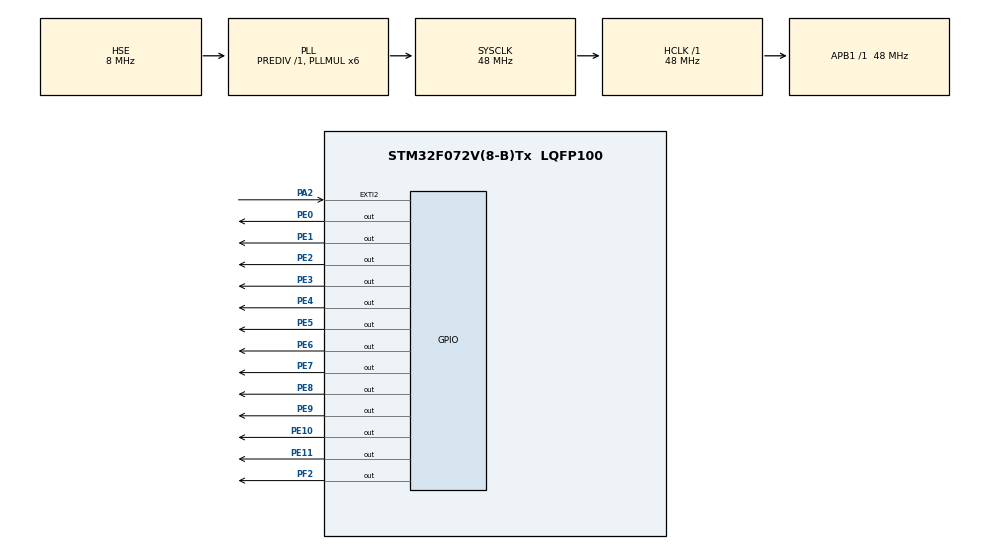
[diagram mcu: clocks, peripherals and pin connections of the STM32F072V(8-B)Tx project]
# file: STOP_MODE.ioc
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Mcu.Family=STM32F0
Mcu.Name=STM32F072V(8-B)Tx
Mcu.Package=LQFP100
PA2.GPIO_PuPd=GPIO_PULLDOWN
PA2.Signal=GPXTI2
PE0.Signal=GPIO_Output
PE1.Signal=GPIO_Output
PE10.Signal=GPIO_Output
PE11.Signal=GPIO_Output
PE2.Signal=GPIO_Output
PE3.Signal=GPIO_Output
PE4.Signal=GPIO_Output
PE5.Signal=GPIO_Output
PE6.Signal=GPIO_Output
PE7.Signal=GPIO_Output
PE8.Signal=GPIO_Output
PE9.Signal=GPIO_Output
PF0-OSC_IN.Mode=HSE-External-Oscillator
PF0-OSC_IN.Signal=RCC_OSC_IN
PF1-OSC_OUT.Mode=HSE-External-Oscillator
PF1-OSC_OUT.Signal=RCC_OSC_OUT
PF2.Signal=GPIO_Output
ProjectManager.HeapSize=0x200
ProjectManager.StackSize=0x400
ProjectManager.TargetToolchain=MDK-ARM V5
RCC.AHBFreq_Value=48000000
RCC.APB1Freq_Value=48000000
RCC.APB1TimFreq_Value=48000000
RCC.HCLKFreq_Value=48000000
RCC.HSIState=RCC_HSI_ON
RCC.PLLMUL=RCC_PLL_MUL6
RCC.PLLSourceVirtual=RCC_PLLSOURCE_HSE
RCC.SYSCLKFreq_VALUE=48000000
RCC.SYSCLKSource=RCC_SYSCLKSOURCE_PLLCLK
board=STOP_MODE

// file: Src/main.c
/**
  ******************************************************************************
  * File Name          : main.c
  * Description        : Main program body
  ******************************************************************************
  *
  * COPYRIGHT(c) 2018 STMicroelectronics
  *
  * Redistribution and use in source and binary forms, with or without modification,
  * are permitted provided that the following conditions are met:
  *   1. Redistributions of source code must retain the above copyright notice,
  *      this list of conditions and the following disclaimer.
  *   2. Redistributions in binary form must reproduce the above copyright notice,
  *      this list of conditions and the following disclaimer in the documentation
  *      and/or other materials provided with the distribution.
  *   3. Neither the name of STMicroelectronics nor the names of its contributors
  *      may be used to endorse or promote products derived from this software
  *      without specific prior written permission.
  *
  * THIS SOFTWARE IS PROVIDED BY THE COPYRIGHT HOLDERS AND CONTRIBUTORS "AS IS"
  * AND ANY EXPRESS OR IMPLIED WARRANTIES, INCLUDING, BUT NOT LIMITED TO, THE
  * IMPLIED WARRANTIES OF MERCHANTABILITY AND FITNESS FOR A PARTICULAR PURPOSE ARE
  * DISCLAIMED. IN NO EVENT SHALL THE COPYRIGHT HOLDER OR CONTRIBUTORS BE LIABLE
  * FOR ANY DIRECT, INDIRECT, INCIDENTAL, SPECIAL, EXEMPLARY, OR CONSEQUENTIAL
  * DAMAGES (INCLUDING, BUT NOT LIMITED TO, PROCUREMENT OF SUBSTITUTE GOODS OR
  * SERVICES; LOSS OF USE, DATA, OR PROFITS; OR BUSINESS INTERRUPTION) HOWEVER
  * CAUSED AND ON ANY THEORY OF LIABILITY, WHETHER IN CONTRACT, STRICT LIABILITY,
  * OR TORT (INCLUDING NEGLIGENCE OR OTHERWISE) ARISING IN ANY WAY OUT OF THE USE
  * OF THIS SOFTWARE, EVEN IF ADVISED OF THE POSSIBILITY OF SUCH DAMAGE.
  *
  ******************************************************************************
  */
#include "stm32f0xx_hal.h"

/* USER CODE BEGIN PV */
/* Private variables ---------------------------------------------------------*/

/* USER CODE END PV */

void SystemClock_Config(void);
void Error_Handler(void);
static void MX_GPIO_Init(void);

/* USER CODE BEGIN PFP */
/* Private function prototypes -----------------------------------------------*/
void SEG_Display(uint32_t num);     /*  数码管显示函数  */

/* USER CODE END PFP */

/* USER CODE BEGIN 0 */
const uint8_t table0[]= {0x3f,0x06,0x5b,0x4f,0x66,0x6d,0x7d,0x07,0x7f,0x6f};  /* 共阴（无点）*/
const uint8_t table1[]= {0xbf,0x86,0xdb,0xcf,0xe6,0xed,0xfd,0x87,0xff,0xef};  /* 共阴（有点）*/
uint32_t  timeout;          /* 定义超时变量 */

/* USER CODE END 0 */

int main(void)
{

  /* MCU Configuration----------------------------------------------------------*/

  /* Reset of all peripherals, Initializes the Flash interface and the Systick. */
  HAL_Init();

  /* Configure the system clock */
  SystemClock_Config();

  /* Initialize all configured peripherals */
  MX_GPIO_Init();

  /* USER CODE BEGIN 2 */

	/* 超时变量赋初值  */
	timeout=200;

  /* USER CODE END 2 */

  /* Infinite loop */
  /* USER CODE BEGIN WHILE */
  while (1)
  {
		/* 数码管显示超时值  */
		SEG_Display(timeout);
		/* 超时变量自减 */
		timeout--;
		if(timeout==0)
		{
			/* 清除EXTI线2的中断标志位 */
			HAL_GPIO_EXTI_IRQHandler ( GPIO_PIN_2 );
			/* 超时变量赋初值  */
			timeout=200;
			/* 使用WFI指令进入停机模式  */
			HAL_PWR_EnterSTOPMode(PWR_LOWPOWERREGULATOR_ON,PWR_STOPENTRY_WFI);
			/* 重新配置系统时钟 */
			SystemClock_Config();
		}
  /* USER CODE END WHILE */

  }

}

/** System Clock Configuration
*/
void SystemClock_Config(void)
{

  RCC_OscInitTypeDef RCC_OscInitStruct;
  RCC_ClkInitTypeDef RCC_ClkInitStruct;

  RCC_OscInitStruct.OscillatorType = RCC_OSCILLATORTYPE_HSE;
  RCC_OscInitStruct.HSEState = RCC_HSE_ON;
  RCC_OscInitStruct.PLL.PLLState = RCC_PLL_ON;
  RCC_OscInitStruct.PLL.PLLSource = RCC_PLLSOURCE_HSE;
  RCC_OscInitStruct.PLL.PLLMUL = RCC_PLL_MUL6;
  RCC_OscInitStruct.PLL.PREDIV = RCC_PREDIV_DIV1;
  if (HAL_RCC_OscConfig(&RCC_OscInitStruct) != HAL_OK)
  {
    Error_Handler();
  }

  RCC_ClkInitStruct.ClockType = RCC_CLOCKTYPE_HCLK|RCC_CLOCKTYPE_SYSCLK
                              |RCC_CLOCKTYPE_PCLK1;
  RCC_ClkInitStruct.SYSCLKSource = RCC_SYSCLKSOURCE_PLLCLK;
  RCC_ClkInitStruct.AHBCLKDivider = RCC_SYSCLK_DIV1;
  RCC_ClkInitStruct.APB1CLKDivider = RCC_HCLK_DIV1;
  if (HAL_RCC_ClockConfig(&RCC_ClkInitStruct, FLASH_LATENCY_1) != HAL_OK)
  {
    Error_Handler();
  }

  HAL_SYSTICK_Config(HAL_RCC_GetHCLKFreq()/1000);

  HAL_SYSTICK_CLKSourceConfig(SYSTICK_CLKSOURCE_HCLK);

  /* SysTick_IRQn interrupt configuration */
  HAL_NVIC_SetPriority(SysTick_IRQn, 0, 0);
}

/** Configure pins as
        * Analog
        * Input
        * Output
        * EVENT_OUT
        * EXTI
*/
static void MX_GPIO_Init(void)
{

  GPIO_InitTypeDef GPIO_InitStruct;

  /* GPIO Ports Clock Enable */
  __HAL_RCC_GPIOE_CLK_ENABLE();
  __HAL_RCC_GPIOF_CLK_ENABLE();
  __HAL_RCC_GPIOA_CLK_ENABLE();

  /*Configure GPIO pin Output Level */
  HAL_GPIO_WritePin(GPIOE, GPIO_PIN_2|GPIO_PIN_3|GPIO_PIN_4|GPIO_PIN_5
                          |GPIO_PIN_6|GPIO_PIN_7|GPIO_PIN_8|GPIO_PIN_9
                          |GPIO_PIN_10|GPIO_PIN_11|GPIO_PIN_0|GPIO_PIN_1, GPIO_PIN_RESET);

  /*Configure GPIO pin Output Level */
  HAL_GPIO_WritePin(GPIOF, GPIO_PIN_2, GPIO_PIN_RESET);

  /*Configure GPIO pins : PE2 PE3 PE4 PE5
                           PE6 PE7 PE8 PE9
                           PE10 PE11 PE0 PE1 */
  GPIO_InitStruct.Pin = GPIO_PIN_2|GPIO_PIN_3|GPIO_PIN_4|GPIO_PIN_5
                          |GPIO_PIN_6|GPIO_PIN_7|GPIO_PIN_8|GPIO_PIN_9
                          |GPIO_PIN_10|GPIO_PIN_11|GPIO_PIN_0|GPIO_PIN_1;
  GPIO_InitStruct.Mode = GPIO_MODE_OUTPUT_PP;
  GPIO_InitStruct.Pull = GPIO_NOPULL;
  GPIO_InitStruct.Speed = GPIO_SPEED_FREQ_LOW;
  HAL_GPIO_Init(GPIOE, &GPIO_InitStruct);

  /*Configure GPIO pin : PF2 */
  GPIO_InitStruct.Pin = GPIO_PIN_2;
  GPIO_InitStruct.Mode = GPIO_MODE_OUTPUT_PP;
  GPIO_InitStruct.Pull = GPIO_NOPULL;
  GPIO_InitStruct.Speed = GPIO_SPEED_FREQ_LOW;
  HAL_GPIO_Init(GPIOF, &GPIO_InitStruct);

  /*Configure GPIO pin : PA2 */
  GPIO_InitStruct.Pin = GPIO_PIN_2;
  GPIO_InitStruct.Mode = GPIO_MODE_IT_RISING;
  GPIO_InitStruct.Pull = GPIO_PULLDOWN;
  HAL_GPIO_Init(GPIOA, &GPIO_InitStruct);

}

/* USER CODE BEGIN 4 */

/*  数码管显示函数  */
void SEG_Display(uint32_t num)
{
	/* 取出四位数显示值 */
  uint8_t GeWei,ShiWei,BaiWei,QianWei;
	GeWei   = (uint8_t)(num%10);
	ShiWei  = (uint8_t)(num%100/10);
	BaiWei  = (uint8_t)(num%1000/100);
	QianWei = (uint8_t)(num/1000);

	/* 使能数码管位驱动  */
	HAL_GPIO_WritePin(GPIOF,GPIO_PIN_2,GPIO_PIN_RESET);

	/* 显示个位 */
	GPIOE->ODR |= (uint16_t)(table0[GeWei]);
	/* 使能个位 */
	HAL_GPIO_WritePin(GPIOE,GPIO_PIN_9|GPIO_PIN_10|GPIO_PIN_11,GPIO_PIN_SET);
	HAL_GPIO_WritePin(GPIOE,GPIO_PIN_8,GPIO_PIN_RESET);
	HAL_Delay(3);
	/* 消隐 */
  GPIOE->ODR &= 0xFF00;
	GPIOE->ODR |= 0x0F00;
	HAL_Delay(1);

	/* 显示十位 */
	GPIOE->ODR |= (uint16_t)(table0[ShiWei]);
	/* 使能十位 */
	HAL_GPIO_WritePin(GPIOE,GPIO_PIN_8|GPIO_PIN_10|GPIO_PIN_11,GPIO_PIN_SET);
	HAL_GPIO_WritePin(GPIOE,GPIO_PIN_9,GPIO_PIN_RESET);
	HAL_Delay(3);
	/* 消隐 */
  GPIOE->ODR &= 0xFF00;
	GPIOE->ODR |= 0x0F00;
	HAL_Delay(1);

	/* 显示百位 */
	GPIOE->ODR |= (uint16_t)(table0[BaiWei]);
	/* 使能百位 */
	HAL_GPIO_WritePin(GPIOE,GPIO_PIN_8|GPIO_PIN_9|GPIO_PIN_11,GPIO_PIN_SET);
	HAL_GPIO_WritePin(GPIOE,GPIO_PIN_10,GPIO_PIN_RESET);
	HAL_Delay(3);
	/* 消隐 */
  GPIOE->ODR &= 0xFF00;
	GPIOE->ODR |= 0x0F00;
	HAL_Delay(1);

	/* 显示千位 */
	GPIOE->ODR |= (uint16_t)(table0[QianWei]);
	/* 使能千位 */
	HAL_GPIO_WritePin(GPIOE,GPIO_PIN_8|GPIO_PIN_9|GPIO_PIN_10,GPIO_PIN_SET);
	HAL_GPIO_WritePin(GPIOE,GPIO_PIN_11,GPIO_PIN_RESET);
	HAL_Delay(3);
	/* 消隐 */
  GPIOE->ODR &= 0xFF00;
	GPIOE->ODR |= 0x0F00;
	HAL_Delay(1);
}

/* USER CODE END 4 */

void Error_Handler(void)
{
  while(1)
  {
  }
}

/************************ (C) COPYRIGHT STMicroelectronics *****END OF FILE****/
